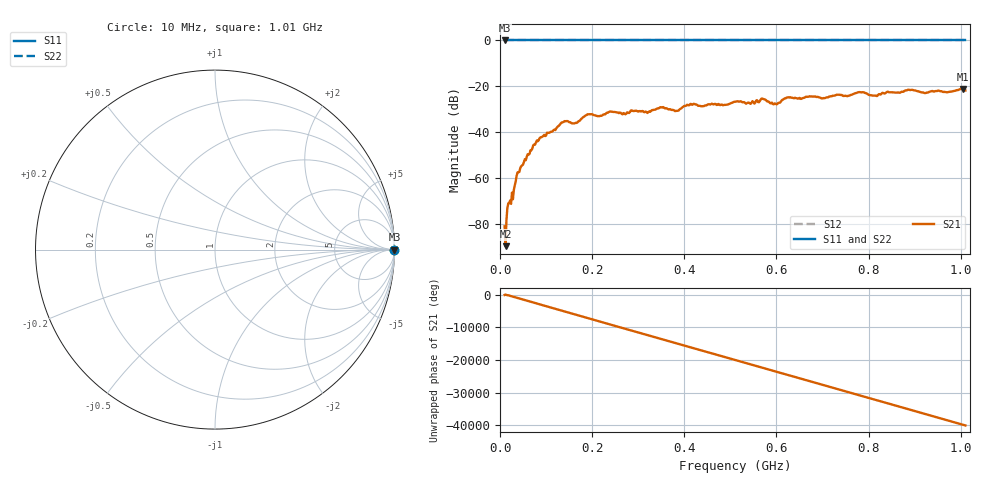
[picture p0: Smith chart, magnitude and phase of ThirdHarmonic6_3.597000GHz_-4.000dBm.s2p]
! 8/17/2025 11:58:56 AM
! C:\ANRITSUVNA\TEMP\TEMP.S2P
! CHANNEL.1
! TR.MEASUREMENT
! RAW.DATA
! RF.CORRECTION.OFF
! AVERAGING.OFF
! IF.BANDWIDTH: 5KHZ
! SWEEPTYPE:  FREQ.SWEEP(Linear)
! Reference Plane Port Info
! PORT:  PORT1  PORT2
! DISTANCE:  0  m  0  m
! TIME:  0  s  0  s
! PHASE.OFFSET:  0  deg.  0  deg.
! LOSS:  0  dB  0  dB
! REF.LOSS:  0  dB  0  dB
! REF.FREQ:  0  Hz  0  Hz
! Power Info
! POWER:  -20  dBm  -20  dBm
! EFF.POWER:  -20  dBm  -20  dBm
! SOURCE.ATTEN:  0  dB  0  dB
! TEST.ATTEN:  0  dB  0  dB
# GHZ S RI R 50.0
! FREQ.GHZ  S11RE  S11IM  S21RE  S21IM  S12RE  S12IM  S22RE  S22IM
!; PortSelection: Port_12
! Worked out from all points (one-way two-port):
!   501 points, 10 MHz to 1.01 GHz, reference 50 ohm
!   highest |S21| = -21.19 dB at 1.004 GHz (marker M1); lowest = -89.6 dB at 12 MHz (marker M2)
!   lowest |S11| = 0.0 dB at 10 MHz (marker M3)
!   |S11| at or under -10 dB: nowhere
!   |S22| runs from 0.0 to 0.0 dB; largest |S21 - S12| = 1.1
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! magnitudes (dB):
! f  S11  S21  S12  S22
! 10 MHz  0.0  -81.0  0.0  0.0
! 12 MHz  0.0  -89.6  0.0  0.0
! 40 MHz  0.0  -57.4  0.0  0.0
! 76 MHz  0.0  -45.4  0.0  0.0
! 136 MHz  0.0  -35.7  0.0  0.0
! 164 MHz  0.0  -35.9  0.0  0.0
! 178 MHz  0.0  -33.9  0.0  0.0
! 194 MHz  0.0  -32.1  0.0  0.0
! 322 MHz  0.0  -31.2  0.0  0.0
! 344 MHz  0.0  -29.6  0.0  0.0
! 384 MHz  0.0  -30.6  0.0  0.0
! 410 MHz  0.0  -28.3  0.0  0.0
! 510 MHz  0.0  -26.7  0.0  0.0
! 570 MHz  0.0  -25.4  0.0  0.0
! 598 MHz  0.0  -27.5  0.0  0.0
! 626 MHz  0.0  -24.7  0.0  0.0
! 678 MHz  0.0  -24.4  0.0  0.0
! 782 MHz  0.0  -22.5  0.0  0.0
! 814 MHz  0.0  -24.0  0.0  0.0
! 844 MHz  0.0  -22.6  0.0  0.0
! 1.004 GHz  0.0  -21.2  0.0  0.0
! 1.01 GHz  0.0  -21.8  0.0  0.0
